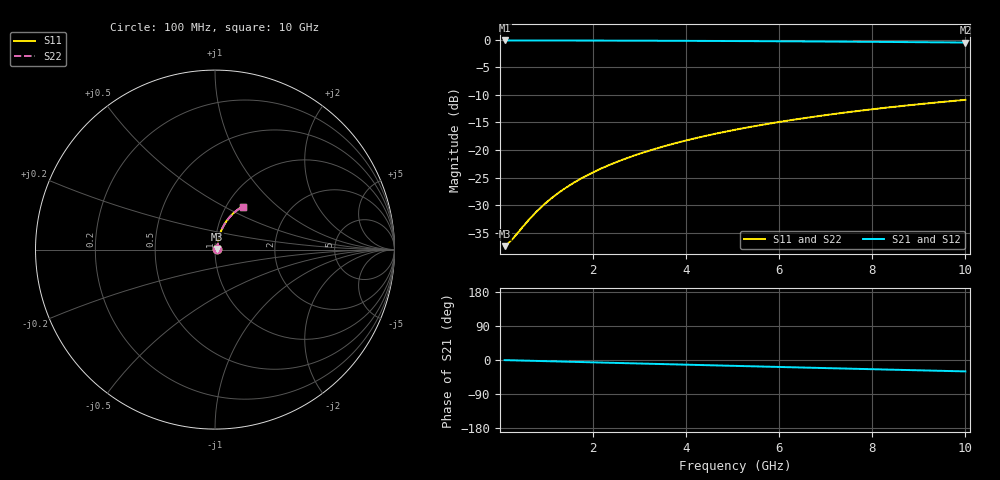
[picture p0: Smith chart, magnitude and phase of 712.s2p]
# Hz S RI R 50.00
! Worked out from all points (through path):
!   100 points, 100 MHz to 10 GHz, reference 50 ohm
!   highest |S21| = -0.11 dB at 100 MHz (marker M1); lowest = -0.5 dB at 10 GHz (marker M2)
!   group delay of S21, straight-line fit = 8.38 ps
!   lowest |S11| = -37.4 dB at 100 MHz (marker M3), VSWR 1.03, Z = 51.3 + j0.308 ohm
!   |S11| at or under -10 dB: start of sweep to end of sweep
!   |S22| runs from -37.4 to -10.9 dB; largest |S21 - S12| = 0
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1e8  0.0131 0.003  0.9869 -0.00533  0.9869 -0.00533  0.0131 0.003
2e8  0.0132 0.006  0.9868 -0.0107  0.9868 -0.0107  0.0132 0.006
3e8  0.0134 0.009  0.9866 -0.016  0.9866 -0.016  0.0134 0.009
5e8  0.0137 0.015  0.9862 -0.0266  0.9862 -0.0266  0.0137 0.015
7e8  0.0142 0.021  0.9857 -0.0373  0.9857 -0.0373  0.0142 0.021
8e8  0.0144 0.024  0.9854 -0.0426  0.9854 -0.0426  0.0144 0.024
1e9  0.0151 0.0299  0.9846 -0.0532  0.9846 -0.0532  0.0151 0.0299
1.2e9  0.0158 0.0359  0.9837 -0.0638  0.9837 -0.0638  0.0158 0.0359
1.4e9  0.0167 0.0418  0.9827 -0.0744  0.9827 -0.0744  0.0167 0.0418
1.6e9  0.0177 0.0477  0.9815 -0.0849  0.9815 -0.0849  0.0177 0.0477
1.8e9  0.0189 0.0536  0.9802 -0.0955  0.9802 -0.0955  0.0189 0.0536
2.1e9  0.0208 0.0623  0.978 -0.1112  0.978 -0.1112  0.0208 0.0623
2.5e9  0.0238 0.0739  0.9745 -0.1321  0.9745 -0.1321  0.0238 0.0739
2.9e9  0.0273 0.0853  0.9704 -0.1528  0.9704 -0.1528  0.0273 0.0853
3.4e9  0.0323 0.0993  0.9645 -0.1784  0.9645 -0.1784  0.0323 0.0993
4.2e9  0.0418 0.1209  0.9533 -0.2188  0.9533 -0.2188  0.0418 0.1209
5.1e9  0.0546 0.1441  0.9382 -0.2629  0.9382 -0.2629  0.0546 0.1441
5.9e9  0.0677 0.1634  0.9226 -0.301  0.9226 -0.301  0.0677 0.1634
6.7e9  0.0822 0.1815  0.9053 -0.3377  0.9053 -0.3377  0.0822 0.1815
7.5e9  0.0981 0.1981  0.8863 -0.3731  0.8863 -0.3731  0.0981 0.1981
8.4e9  0.1173 0.215  0.863 -0.4111  0.863 -0.4111  0.1173 0.215
1e10  0.1543 0.24  0.8176 -0.4738  0.8176 -0.4738  0.1543 0.24
